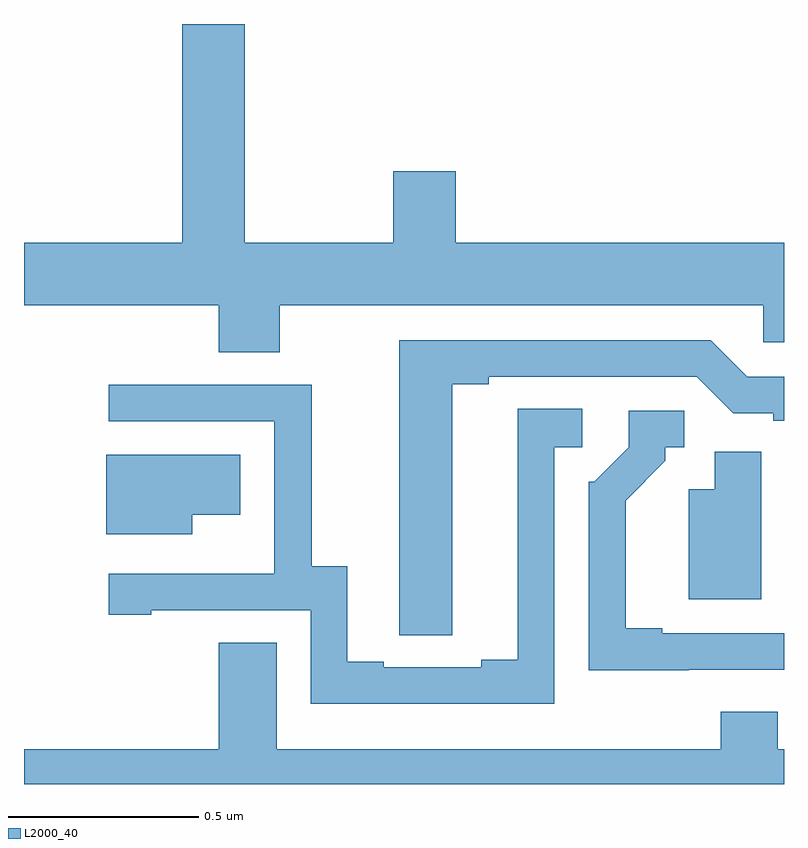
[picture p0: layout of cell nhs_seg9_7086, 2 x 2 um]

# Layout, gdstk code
import gdstk
lib = gdstk.Library(unit=1e-6, precision=1e-09)
def P(c, l, *ps):  # polygons
    for p in ps: c.add(gdstk.Polygon(p, *l))
L2000_40 = (2000, 40)

nhs_seg9_7086 = lib.new_cell('nhs_seg9_7086')
P(nhs_seg9_7086, L2000_40, [(200.673,1189.76),(201.945,1189.76),(201.945,1189.662),(202,1189.662),(202,1189.924),(201.136,1189.924),(201.136,1190.113),(200.972,1190.113),(200.972,1189.924),(200.581,1189.924),(200.581,1190.5),(200.417,1190.5),(200.417,1189.924),(200,1189.924),(200,1189.76),(200.513,1189.76),(200.513,1189.636),(200.673,1189.636)],
  [(201.127,1189.552),(201.223,1189.552),(201.223,1189.572),(201.771,1189.572),(201.867,1189.476),(201.972,1189.476),(201.972,1189.456),(202,1189.456),(202,1189.572),(201.903,1189.572),(201.807,1189.668),(200.987,1189.668),(200.987,1189),(200.988,1189),(200.988,1188.892),(201.127,1188.892)],
  [(201.396,1189.386),(201.469,1189.386),(201.469,1189.487),(201.299,1189.487),(201.299,1188.827),(201.203,1188.827),(201.203,1188.807),(200.947,1188.807),(200.947,1188.822),(200.851,1188.822),(200.851,1189.073),(200.757,1189.073),(200.757,1189.551),(200.223,1189.551),(200.223,1189.455),(200.658,1189.455),(200.658,1189.054),(200.657,1189.054),(200.657,1189.053),(200.223,1189.053),(200.223,1188.945),(200.335,1188.945),(200.335,1188.957),(200.754,1188.957),(200.754,1188.711),(201.396,1188.711)],
  [(201.749,1188.801),(202,1188.801),(202,1188.897),(201.679,1188.897),(201.679,1188.91),(201.583,1188.91),(201.583,1189.246),(201.688,1189.351),(201.688,1189.386),(201.738,1189.386),(201.738,1189.482),(201.591,1189.482),(201.591,1189.386),(201.501,1189.296),(201.486,1189.296),(201.486,1188.8),(201.749,1188.8)],
  [(201.94,1189.374),(201.818,1189.374),(201.818,1189.276),(201.749,1189.276),(201.749,1188.986),(201.94,1188.986)],
  [(200.443,1189.208),(200.569,1189.208),(200.569,1189.366),(200.216,1189.366),(200.216,1189.157),(200.443,1189.157)],
  [(202,1188.592),(201.984,1188.592),(201.984,1188.69),(201.833,1188.69),(201.833,1188.592),(200.665,1188.592),(200.665,1188.872),(200.513,1188.872),(200.513,1188.592),(200,1188.592),(200,1188.5),(202,1188.5)])

lib.write_gds('nhs_seg9_7086.gds')
